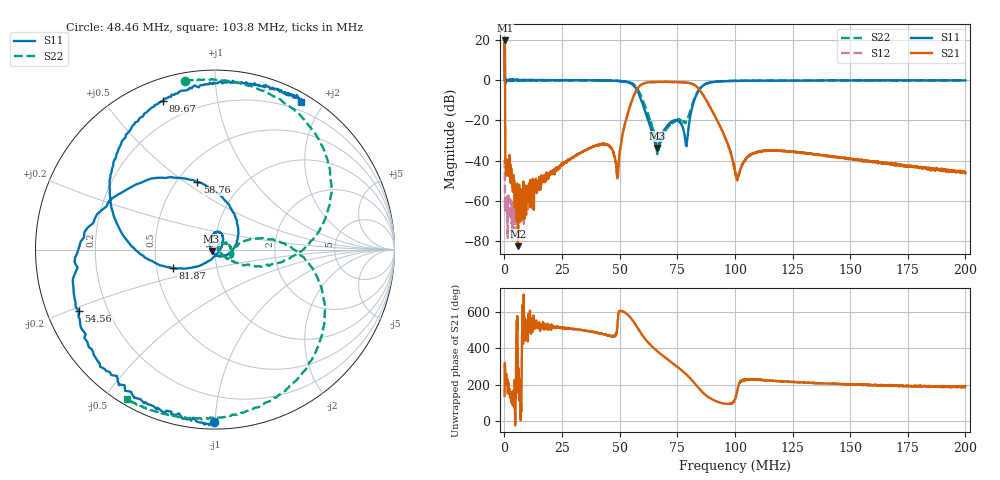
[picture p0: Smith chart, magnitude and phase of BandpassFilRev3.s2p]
! 19-Feb-26 2:41:21 PM
! E:\VNA_MEASUREMENTS\RECBLOCK\BANDPASSFILREV3.S2P
! CHANNEL.1
! TR.MEASUREMENT
! CORRECTED.DATA
# GHZ S RI R 50.0
! FREQ.GHZ  S11RE  S11IM  S21RE  S21IM  S12RE  S12IM  S22RE  S22IM
!; PortSelection: Port_12
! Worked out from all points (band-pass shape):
!   2000 points, 50 kHz to 200 MHz, reference 50 ohm
!   highest |S21| = 19.69 dB at 150 kHz (marker M1); lowest = -82.4 dB at 5.851 MHz (marker M2)
!   |S21| within 3 dB of the highest: 130 kHz to 166 kHz (36.07 kHz wide, 24.4 % of centre)
!   lowest |S11| = -33.6 dB at 66.37 MHz (marker M3), VSWR 1.04, Z = 48.1 - j0.823 ohm
!   |S11| at or under -10 dB: 59.37 MHz to 82.35 MHz (22.98 MHz wide, 32.4 % of centre)
!   |S22| runs from -36.7 to 0.0 dB; largest |S21 - S12| = 9.7
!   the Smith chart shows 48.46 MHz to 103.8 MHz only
!   S11 on the Smith chart (normalised r, x): 48.46 MHz: 0.04, -0.99; 54.56 MHz: 0.10, -0.21; 58.76 MHz: 0.63, +0.56; 81.87 MHz: 0.61, -0.14; 89.67 MHz: 0.10, +0.70; 103.8 MHz: 0.10, +1.73
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5e-05  1 0.1337  -1.301 1.131  -0.01 0.0035  -0.9908 -0.0213
0.000150025  -2.035 8.706  7.246 -6.38  0.00269 -0.000393  -0.9974 0.0048
0.001150275  0.9866 -0.0442  -0.00661 -0.00506  -7.54e-05 -0.000302  -0.9914 0.0175
0.001350325  1.005 -0.000538  -0.0069 -0.00138  -0.000119 2.29e-05  -1.001 0.0238
0.005851451  0.9819 -0.0493  1.01e-05 -7.49e-05  -8.55e-05 0.000185  -0.9862 0.0941
0.03345835  0.7779 -0.6289  -0.0122 0.0107  -0.0119 0.0107  -0.7723 0.5997
0.04436108  0.3417 -0.9146  -0.00836 0.0232  -0.00935 0.0229  -0.4232 0.8665
0.04846211  -0.00626 -0.9633  -0.0039 0.00616  -0.00336 0.00658  -0.1676 0.9412
0.05456363  -0.7592 -0.3431  -0.2024 -0.1105  -0.2049 -0.1133  0.5031 0.7196
0.05876468  -0.0977 0.3754  -0.4731 0.5485  -0.4737 0.5519  0.4664 -0.015
0.06186546  0.1198 0.0332  0.1797 0.849  0.1857 0.849  0.1503 -0.0828
0.06636658  -0.019 -0.00854  0.8352 0.3451  0.8354 0.3467  0.0201 0.00144
0.06676668  -0.0242 -0.000593  0.8613 0.2832  0.8602 0.2861  0.0177 0.00873
0.07566891  0.0351 0.088  0.3171 -0.8359  0.3108 -0.8318  0.0969 -0.0371
0.07886971  0.0205 -0.0115  -0.2092 -0.8479  -0.2135 -0.8444  0.0931 -0.00888
0.08187046  -0.2365 -0.1042  -0.6332 -0.4665  -0.6374 -0.4666  0.2868 0.0614
0.08967241  -0.2914 0.8286  -0.1012 0.1628  -0.0999 0.1596  0.3309 -0.8242
0.100075  0.3673 0.8889  -0.00288 0.0048  -0.00324 0.00438  -0.3662 -0.8883
0.1037759  0.4789 0.8242  -0.00669 -0.00705  -0.00669 -0.00645  -0.4909 -0.8313
0.1333833  0.8435 0.4961  -0.0129 -0.00701  -0.0131 -0.00696  -0.881 -0.4419
0.1666917  0.9389 0.2924  -0.00828 -0.00182  -0.00838 -0.00217  -0.9616 -0.1934
0.2  0.972 0.1678  -0.00501 -0.000992  -0.00535 -0.000625  -0.9846 -0.0351
